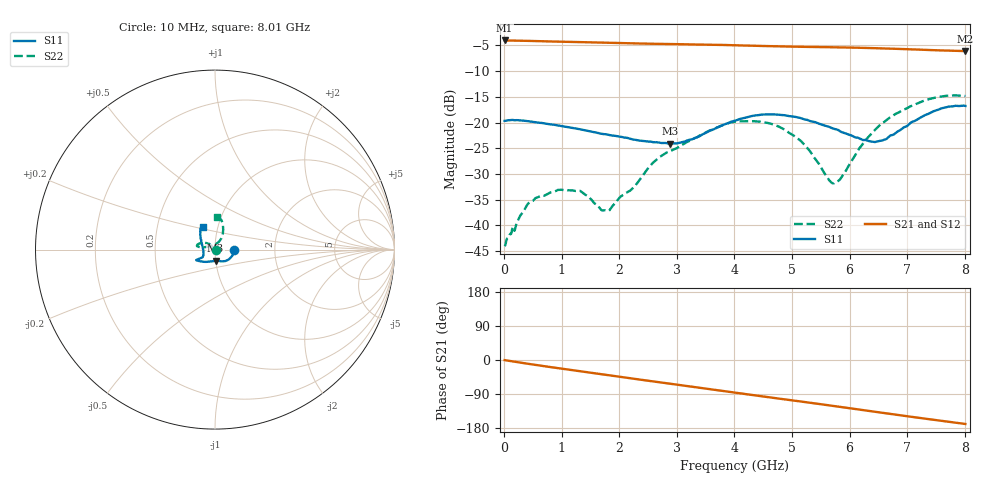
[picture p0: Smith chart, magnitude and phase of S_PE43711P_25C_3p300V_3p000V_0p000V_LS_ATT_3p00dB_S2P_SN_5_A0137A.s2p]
! Device ID: PE43711P
! File Path: z:\PE43711P\CHAR_NOM_04282014\AMB\3p300\LS_ATT_3p00dB\PE43711P_AMB_3p300V_3p000V_0p000V_LS_ATT_3p00dB_S2P_SN_5_A0137A.s2p
! Serial: 5
! Lot: A0137A
! Temp: 25C
! VDD: 3.300
! VSS: 0.000
! Control_Hi: 3.000
! Control_Lo: 0.000
! Attenuation Step: 3.00dB
! Port 1: RF1
! Port 2: RF2
! ThroughPath:1-2
! IDD: 0.0001279595
! ISS: -1.395e-007
#  Hz  S  RI  R  50
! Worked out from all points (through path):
!   801 points, 10 MHz to 8.01 GHz, reference 50 ohm
!   highest |S21| = -4.05 dB at 10 MHz (marker M1); lowest = -6.1 dB at 8.01 GHz (marker M2)
!   group delay of S21, straight-line fit = 58.1 ps
!   lowest |S11| = -24.1 dB at 2.89 GHz (marker M3), VSWR 1.13, Z = 49.9 - j6.25 ohm
!   |S11| at or under -10 dB: start of sweep to end of sweep
!   |S22| runs from -44.0 to -14.7 dB; largest |S21 - S12| = 0.00087
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1e7  0.1039 -0.000531  0.6273 -0.00327  0.6276 -0.00338  0.0063 1.84e-05
3.9e8  0.0995 -0.0286  0.6136 -0.1015  0.6137 -0.1013  0.00845 -0.013
5.6e8  0.0925 -0.0386  0.602 -0.1418  0.602 -0.1417  0.00814 -0.0167
9.6e8  0.0747 -0.0558  0.5658 -0.2292  0.566 -0.2293  0.0022 -0.0221
1.35e9  0.0566 -0.0638  0.5205 -0.3064  0.5208 -0.3065  -0.00403 -0.0208
1.69e9  0.0428 -0.065  0.4727 -0.3658  0.4731 -0.366  -0.00982 -0.0102
1.81e9  0.0394 -0.0651  0.4545 -0.3853  0.4548 -0.3855  -0.0127 -0.00539
2.25e9  0.0259 -0.0632  0.3815 -0.4474  0.3818 -0.4475  -0.0208 0.0111
2.68e9  0.014 -0.0624  0.3048 -0.495  0.305 -0.4954  -0.0322 0.0319
2.89e9  0.00334 -0.0624  0.265 -0.5146  0.2653 -0.515  -0.0405 0.034
3.28e9  -0.0224 -0.0656  0.1877 -0.5417  0.1879 -0.5423  -0.0576 0.0379
4.01e9  -0.0817 -0.0647  0.0374 -0.5619  0.0371 -0.5624  -0.0977 0.0279
4.74e9  -0.1043 -0.0579  -0.1071 -0.5394  -0.1072 -0.5401  -0.0914 0.0153
5.13e9  -0.097 -0.0546  -0.1782 -0.5148  -0.1783 -0.5152  -0.0663 0.0141
5.35e9  -0.0891 -0.0501  -0.217 -0.4971  -0.2171 -0.4977  -0.0468 0.0143
5.65e9  -0.0773 -0.0471  -0.2683 -0.4679  -0.2683 -0.4682  -0.0179 0.0206
5.76e9  -0.0734 -0.045  -0.2862 -0.4556  -0.2861 -0.4559  -0.00732 0.0254
6.4e9  -0.0644 -0.0096  -0.3785 -0.3688  -0.3788 -0.3691  0.0389 0.0704
6.68e9  -0.0703 0.0191  -0.4101 -0.3246  -0.41 -0.3249  0.0445 0.1008
7.37e9  -0.0816 0.0902  -0.4631 -0.2061  -0.463 -0.2061  0.0354 0.1647
7.68e9  -0.0812 0.1152  -0.4763 -0.1524  -0.4764 -0.1521  0.0203 0.1808
8.01e9  -0.0695 0.1273  -0.4852 -0.096  -0.4854 -0.0952  0.00851 0.1807
